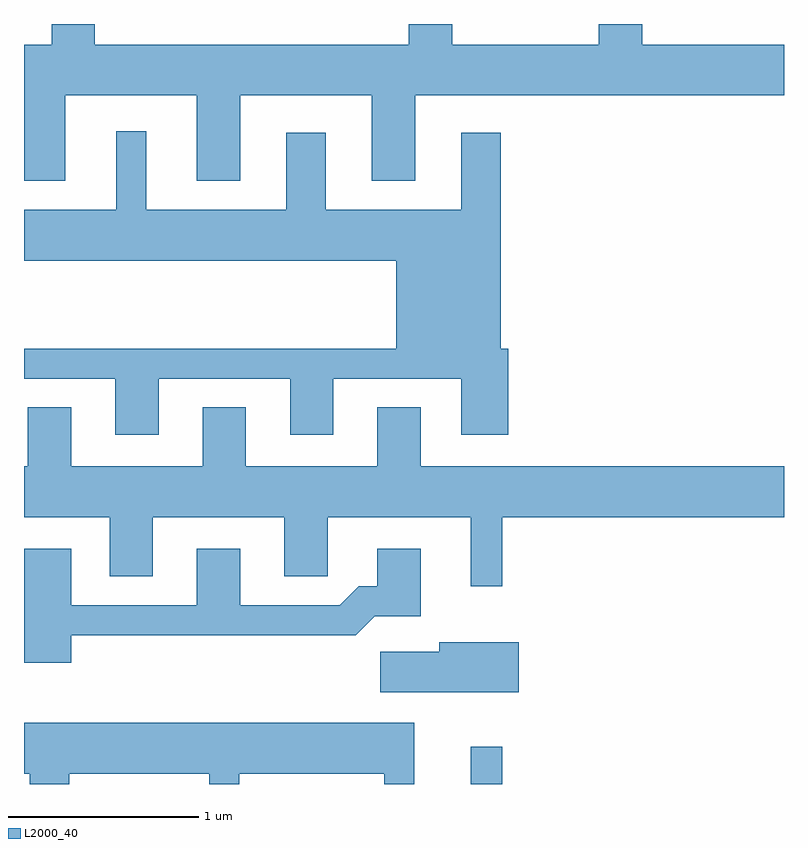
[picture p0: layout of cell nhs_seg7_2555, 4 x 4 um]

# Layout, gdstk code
import gdstk
lib = gdstk.Library(unit=1e-6, precision=1e-09)
def R(c, l, rs):  # rectangles x0, y0, x1, y1
    for r in rs: c.add(gdstk.rectangle(r[:2], r[2:], *l))
def P(c, l, *ps):  # polygons
    for p in ps: c.add(gdstk.Polygon(p, *l))
L2000_40 = (2000, 40)

nhs_seg7_2555 = lib.new_cell('nhs_seg7_2555')
R(nhs_seg7_2555, L2000_40, [(265.961,1706.252,266.129,1706.448)])
P(nhs_seg7_2555, L2000_40, [(263.829,1709.876),(264.521,1709.876),(264.521,1709.426),(264.749,1709.426),(264.749,1709.876),(265.441,1709.876),(265.441,1709.426),(265.669,1709.426),(265.669,1709.876),(267.611,1709.876),(267.611,1710.144),(266.864,1710.144),(266.864,1710.252),(266.636,1710.252),(266.636,1710.144),(265.864,1710.144),(265.864,1710.252),(265.636,1710.252),(265.636,1710.144),(263.984,1710.144),(263.984,1710.252),(263.756,1710.252),(263.756,1710.144),(263.611,1710.144),(263.611,1709.426),(263.829,1709.426)],
  [(264.319,1708.386),(265.011,1708.386),(265.011,1708.091),(265.239,1708.091),(265.239,1708.386),(265.911,1708.386),(265.911,1708.091),(266.159,1708.091),(266.159,1708.544),(266.119,1708.544),(266.119,1709.679),(265.911,1709.679),(265.911,1709.274),(265.199,1709.274),(265.199,1709.679),(264.991,1709.679),(264.991,1709.274),(264.254,1709.274),(264.254,1709.688),(264.096,1709.688),(264.096,1709.274),(263.611,1709.274),(263.611,1709.006),(265.571,1709.006),(265.571,1708.544),(263.611,1708.544),(263.611,1708.386),(264.091,1708.386),(264.091,1708.091),(264.319,1708.091)],
  [(266.129,1707.656),(267.611,1707.656),(267.611,1707.924),(265.699,1707.924),(265.699,1708.234),(265.471,1708.234),(265.471,1707.924),(264.779,1707.924),(264.779,1708.234),(264.551,1708.234),(264.551,1707.924),(263.859,1707.924),(263.859,1708.234),(263.631,1708.234),(263.631,1707.924),(263.611,1707.924),(263.611,1707.656),(264.061,1707.656),(264.061,1707.346),(264.289,1707.346),(264.289,1707.656),(264.981,1707.656),(264.981,1707.346),(265.209,1707.346),(265.209,1707.656),(265.961,1707.656),(265.961,1707.293),(266.129,1707.293)],
  [(263.859,1707.036),(265.357,1707.036),(265.457,1707.136),(265.699,1707.136),(265.699,1707.489),(265.471,1707.489),(265.471,1707.294),(265.374,1707.294),(265.274,1707.194),(264.749,1707.194),(264.749,1707.489),(264.521,1707.489),(264.521,1707.194),(263.859,1707.194),(263.859,1707.489),(263.611,1707.489),(263.611,1706.891),(263.859,1706.891)],
  [(266.214,1706.999),(265.796,1706.999),(265.796,1706.949),(265.486,1706.949),(265.486,1706.736),(266.214,1706.736)],
  [(263.849,1706.306),(264.586,1706.306),(264.586,1706.252),(264.744,1706.252),(264.744,1706.306),(265.506,1706.306),(265.506,1706.252),(265.664,1706.252),(265.664,1706.574),(263.611,1706.574),(263.611,1706.306),(263.641,1706.306),(263.641,1706.252),(263.849,1706.252)])

lib.write_gds('nhs_seg7_2555.gds')
